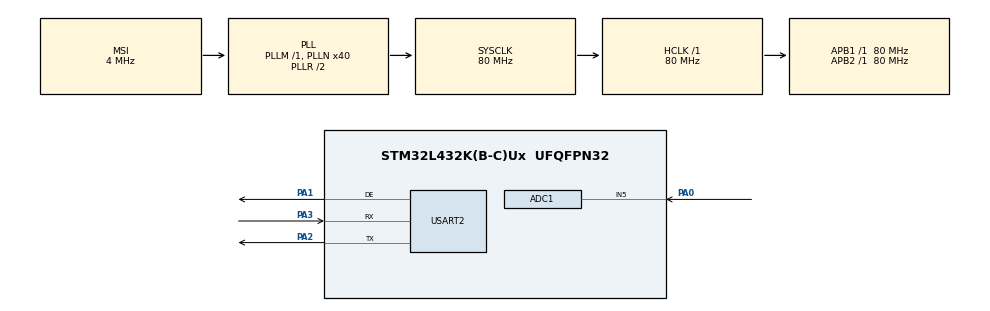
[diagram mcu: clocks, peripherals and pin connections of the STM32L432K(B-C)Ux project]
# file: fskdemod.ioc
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ADC1.Channel-2\#ChannelRegularConversion=ADC_CHANNEL_5
ADC1.ContinuousConvMode=DISABLE
ADC1.DMAContinuousRequests=ENABLE
ADC1.ExternalTrigConv=ADC_EXTERNALTRIG_T2_TRGO
ADC1.NbrOfConversion=1
ADC1.NbrOfConversionFlag=1
ADC1.OffsetNumber-2\#ChannelRegularConversion=ADC_OFFSET_NONE
ADC1.Overrun=ADC_OVR_DATA_PRESERVED
ADC1.Rank-2\#ChannelRegularConversion=1
ADC1.SamplingTime-2\#ChannelRegularConversion=ADC_SAMPLETIME_247CYCLES_5
ADC1.master=1
Dma.ADC1.0.Direction=DMA_PERIPH_TO_MEMORY
Dma.ADC1.0.Instance=DMA1_Channel1
Dma.ADC1.0.MemDataAlignment=DMA_MDATAALIGN_HALFWORD
Dma.ADC1.0.MemInc=DMA_MINC_ENABLE
Dma.ADC1.0.Mode=DMA_CIRCULAR
Dma.ADC1.0.PeriphDataAlignment=DMA_PDATAALIGN_HALFWORD
Dma.ADC1.0.PeriphInc=DMA_PINC_DISABLE
Dma.ADC1.0.Priority=DMA_PRIORITY_LOW
Dma.Request0=ADC1
Mcu.Family=STM32L4
Mcu.Name=STM32L432K(B-C)Ux
Mcu.Package=UFQFPN32
NVIC.ADC1_IRQn=true\:0\:0\:false\:false\:true\:true\:true\:true
NVIC.DMA1_Channel1_IRQn=true\:0\:0\:false\:false\:true\:false\:true\:true
NVIC.PriorityGroup=NVIC_PRIORITYGROUP_4
NVIC.TIM2_IRQn=true\:0\:0\:false\:false\:true\:true\:true\:true
NVIC.USART2_IRQn=true\:0\:0\:false\:false\:true\:true\:true\:true
PA0.Signal=ADCx_IN5
PA1.Mode=Hardware Flow Control (RS485)
PA1.Signal=USART2_DE
PA2.Mode=Asynchronous
PA2.Signal=USART2_TX
PA3.Mode=Asynchronous
PA3.Signal=USART2_RX
ProjectManager.HeapSize=0x200
ProjectManager.StackSize=0x400
ProjectManager.TargetToolchain=STM32CubeIDE
RCC.ADCFreq_Value=32000000
RCC.AHBFreq_Value=80000000
RCC.APB1Freq_Value=80000000
RCC.APB1TimFreq_Value=80000000
RCC.APB2Freq_Value=80000000
RCC.APB2TimFreq_Value=80000000
RCC.CortexFreq_Value=80000000
RCC.HCLKFreq_Value=80000000
RCC.HSE_VALUE=8000000
RCC.HSI48_VALUE=48000000
RCC.HSI_VALUE=16000000
RCC.LSE_VALUE=32768
RCC.MSI_VALUE=4000000
RCC.PLLN=40
RCC.PLLSAI1N=16
RCC.SYSCLKFreq_VALUE=80000000
RCC.SYSCLKSource=RCC_SYSCLKSOURCE_PLLCLK
RCC.USBFreq_Value=32000000
RCC.VCOOutputFreq_Value=160000000
SH.ADCx_IN5.0=ADC1_IN5,IN5-Single-Ended
TIM2.Channel-PWM\ Generation1\ No\ Output=TIM_CHANNEL_1
TIM2.Period=499
TIM2.Prescaler=3
TIM2.TIM_MasterOutputTrigger=TIM_TRGO_UPDATE
USART2.VirtualMode-Asynchronous=VM_ASYNC
USART2.VirtualMode-Hardware\ Flow\ Control\ (RS485)=VM_ASYNC
VP_TIM2_VS_ClockSourceINT.Mode=Internal
VP_TIM2_VS_no_output1.Mode=PWM Generation1 No Output
board=NUCLEO-L432KC

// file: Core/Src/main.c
/* USER CODE BEGIN Header */
/**
  ******************************************************************************
  * @file           : main.c
  * @brief          : Main program body
  ******************************************************************************
  * @attention
  *
  * Copyright (c) 2023 STMicroelectronics.
  * All rights reserved.
  *
  * This software is licensed under terms that can be found in the LICENSE file
  * in the root directory of this software component.
  * If no LICENSE file comes with this software, it is provided AS-IS.
  *
  ******************************************************************************
  */
/* USER CODE END Header */
#include "main.h"

/* USER CODE BEGIN Includes */
#include <string.h>
#include <stdio.h>
#include <math.h>
#define ARM_MATH_CM4
#include "arm_math.h"
/* USER CODE END Includes */

/* USER CODE BEGIN PM */
#define UINT16_TO_FLOAT 0.00001525878f
#define INT16_TO_FLOAT 0.00003051757f
#define FLOAT_TO_INT16 32768.0f
#define BUFFER_SIZE 256
#define FFT_BUFFER_SIZE 4096
#define SAMPLE_RATE_HZ 40000
#define ZERO_FREQ 6000
#define ONE_FREQ 7000
/* USER CODE END PM */

ADC_HandleTypeDef hadc1;
DMA_HandleTypeDef hdma_adc1;

TIM_HandleTypeDef htim2;

UART_HandleTypeDef huart2;

/* USER CODE BEGIN PV */
char msg[10];

volatile uint16_t buffer[BUFFER_SIZE];
volatile uint8_t halfFlag = 0;
volatile uint8_t fullFlag = 0;

arm_rfft_fast_instance_f32 fftHandler;

float fftBufIn[FFT_BUFFER_SIZE];
float32_t fftBufOut[FFT_BUFFER_SIZE];
float32_t fftMagOut[FFT_BUFFER_SIZE/2];
volatile int16_t fftIndex = 0;
volatile uint8_t fftFlag = 0;

float peakVal = 0.0f;
uint16_t peakHz = 0;

int received[9];
int receivedIndex = 0;
int zeroCount = 0;
int oneCount = 0;
/* USER CODE END PV */

void SystemClock_Config(void);
static void MX_GPIO_Init(void);
static void MX_DMA_Init(void);
static void MX_ADC1_Init(void);
static void MX_USART2_UART_Init(void);
static void MX_TIM2_Init(void);
/* USER CODE BEGIN PFP */
void process_data(int start, int end);
void bit_detect(int freq);
void receive_bit(int bit, int amount);
/* USER CODE END PFP */

int main(void)
{

  /* MCU Configuration--------------------------------------------------------*/

  /* Reset of all peripherals, Initializes the Flash interface and the Systick. */
  HAL_Init();

  /* Configure the system clock */
  SystemClock_Config();

  /* Initialize all configured peripherals */
  MX_GPIO_Init();
  MX_DMA_Init();
  MX_ADC1_Init();
  MX_USART2_UART_Init();
  MX_TIM2_Init();
  /* USER CODE BEGIN 2 */

  arm_rfft_fast_init_f32(&fftHandler, FFT_BUFFER_SIZE);
  HAL_ADCEx_Calibration_Start(&hadc1, ADC_SINGLE_ENDED);
  HAL_ADC_Start_DMA(&hadc1, (uint32_t*)buffer, BUFFER_SIZE);
  HAL_TIM_Base_Start_IT(&htim2);
  /* USER CODE END 2 */

  /* Infinite loop */
  /* USER CODE BEGIN WHILE */
  while (1)
  {
	  if (halfFlag) {
		  process_data(0, BUFFER_SIZE/2);
		  halfFlag = 0;
	  }

	  if (fullFlag) {
		  process_data(BUFFER_SIZE/2, BUFFER_SIZE);
		  fullFlag = 0;
	  }
    /* USER CODE END WHILE */

  }
}

void SystemClock_Config(void)
{
  RCC_OscInitTypeDef RCC_OscInitStruct = {0};
  RCC_ClkInitTypeDef RCC_ClkInitStruct = {0};

  /** Configure the main internal regulator output voltage
  */
  if (HAL_PWREx_ControlVoltageScaling(PWR_REGULATOR_VOLTAGE_SCALE1) != HAL_OK)
  {
    Error_Handler();
  }

  /** Initializes the RCC Oscillators according to the specified parameters
  * in the RCC_OscInitTypeDef structure.
  */
  RCC_OscInitStruct.OscillatorType = RCC_OSCILLATORTYPE_MSI;
  RCC_OscInitStruct.MSIState = RCC_MSI_ON;
  RCC_OscInitStruct.MSICalibrationValue = 0;
  RCC_OscInitStruct.MSIClockRange = RCC_MSIRANGE_6;
  RCC_OscInitStruct.PLL.PLLState = RCC_PLL_ON;
  RCC_OscInitStruct.PLL.PLLSource = RCC_PLLSOURCE_MSI;
  RCC_OscInitStruct.PLL.PLLM = 1;
  RCC_OscInitStruct.PLL.PLLN = 40;
  RCC_OscInitStruct.PLL.PLLP = RCC_PLLP_DIV7;
  RCC_OscInitStruct.PLL.PLLQ = RCC_PLLQ_DIV2;
  RCC_OscInitStruct.PLL.PLLR = RCC_PLLR_DIV2;
  if (HAL_RCC_OscConfig(&RCC_OscInitStruct) != HAL_OK)
  {
    Error_Handler();
  }

  /** Initializes the CPU, AHB and APB buses clocks
  */
  RCC_ClkInitStruct.ClockType = RCC_CLOCKTYPE_HCLK|RCC_CLOCKTYPE_SYSCLK
                              |RCC_CLOCKTYPE_PCLK1|RCC_CLOCKTYPE_PCLK2;
  RCC_ClkInitStruct.SYSCLKSource = RCC_SYSCLKSOURCE_PLLCLK;
  RCC_ClkInitStruct.AHBCLKDivider = RCC_SYSCLK_DIV1;
  RCC_ClkInitStruct.APB1CLKDivider = RCC_HCLK_DIV1;
  RCC_ClkInitStruct.APB2CLKDivider = RCC_HCLK_DIV1;

  if (HAL_RCC_ClockConfig(&RCC_ClkInitStruct, FLASH_LATENCY_4) != HAL_OK)
  {
    Error_Handler();
  }
}

static void MX_ADC1_Init(void)
{

  ADC_ChannelConfTypeDef sConfig = {0};

  /** Common config
  */
  hadc1.Instance = ADC1;
  hadc1.Init.ClockPrescaler = ADC_CLOCK_ASYNC_DIV1;
  hadc1.Init.Resolution = ADC_RESOLUTION_12B;
  hadc1.Init.DataAlign = ADC_DATAALIGN_RIGHT;
  hadc1.Init.ScanConvMode = ADC_SCAN_DISABLE;
  hadc1.Init.EOCSelection = ADC_EOC_SINGLE_CONV;
  hadc1.Init.LowPowerAutoWait = DISABLE;
  hadc1.Init.ContinuousConvMode = DISABLE;
  hadc1.Init.NbrOfConversion = 1;
  hadc1.Init.DiscontinuousConvMode = DISABLE;
  hadc1.Init.ExternalTrigConv = ADC_EXTERNALTRIG_T2_TRGO;
  hadc1.Init.ExternalTrigConvEdge = ADC_EXTERNALTRIGCONVEDGE_RISING;
  hadc1.Init.DMAContinuousRequests = ENABLE;
  hadc1.Init.Overrun = ADC_OVR_DATA_PRESERVED;
  hadc1.Init.OversamplingMode = DISABLE;
  if (HAL_ADC_Init(&hadc1) != HAL_OK)
  {
    Error_Handler();
  }

  /** Configure Regular Channel
  */
  sConfig.Channel = ADC_CHANNEL_5;
  sConfig.Rank = ADC_REGULAR_RANK_1;
  sConfig.SamplingTime = ADC_SAMPLETIME_247CYCLES_5;
  sConfig.SingleDiff = ADC_SINGLE_ENDED;
  sConfig.OffsetNumber = ADC_OFFSET_NONE;
  sConfig.Offset = 0;
  if (HAL_ADC_ConfigChannel(&hadc1, &sConfig) != HAL_OK)
  {
    Error_Handler();
  }

}

static void MX_TIM2_Init(void)
{

  TIM_ClockConfigTypeDef sClockSourceConfig = {0};
  TIM_MasterConfigTypeDef sMasterConfig = {0};
  TIM_OC_InitTypeDef sConfigOC = {0};

  htim2.Instance = TIM2;
  htim2.Init.Prescaler = 3;
  htim2.Init.CounterMode = TIM_COUNTERMODE_UP;
  htim2.Init.Period = 499;
  htim2.Init.ClockDivision = TIM_CLOCKDIVISION_DIV1;
  htim2.Init.AutoReloadPreload = TIM_AUTORELOAD_PRELOAD_DISABLE;
  if (HAL_TIM_Base_Init(&htim2) != HAL_OK)
  {
    Error_Handler();
  }
  sClockSourceConfig.ClockSource = TIM_CLOCKSOURCE_INTERNAL;
  if (HAL_TIM_ConfigClockSource(&htim2, &sClockSourceConfig) != HAL_OK)
  {
    Error_Handler();
  }
  if (HAL_TIM_PWM_Init(&htim2) != HAL_OK)
  {
    Error_Handler();
  }
  sMasterConfig.MasterOutputTrigger = TIM_TRGO_UPDATE;
  sMasterConfig.MasterSlaveMode = TIM_MASTERSLAVEMODE_DISABLE;
  if (HAL_TIMEx_MasterConfigSynchronization(&htim2, &sMasterConfig) != HAL_OK)
  {
    Error_Handler();
  }
  sConfigOC.OCMode = TIM_OCMODE_PWM1;
  sConfigOC.Pulse = 0;
  sConfigOC.OCPolarity = TIM_OCPOLARITY_HIGH;
  sConfigOC.OCFastMode = TIM_OCFAST_DISABLE;
  if (HAL_TIM_PWM_ConfigChannel(&htim2, &sConfigOC, TIM_CHANNEL_1) != HAL_OK)
  {
    Error_Handler();
  }

}

static void MX_USART2_UART_Init(void)
{

  huart2.Instance = USART2;
  huart2.Init.BaudRate = 115200;
  huart2.Init.WordLength = UART_WORDLENGTH_8B;
  huart2.Init.StopBits = UART_STOPBITS_1;
  huart2.Init.Parity = UART_PARITY_NONE;
  huart2.Init.Mode = UART_MODE_TX_RX;
  huart2.Init.HwFlowCtl = UART_HWCONTROL_NONE;
  huart2.Init.OverSampling = UART_OVERSAMPLING_16;
  huart2.Init.OneBitSampling = UART_ONE_BIT_SAMPLE_DISABLE;
  huart2.AdvancedInit.AdvFeatureInit = UART_ADVFEATURE_NO_INIT;
  if (HAL_RS485Ex_Init(&huart2, UART_DE_POLARITY_HIGH, 0, 0) != HAL_OK)
  {
    Error_Handler();
  }

}

static void MX_DMA_Init(void)
{

  /* DMA controller clock enable */
  __HAL_RCC_DMA1_CLK_ENABLE();

  /* DMA interrupt init */
  /* DMA1_Channel1_IRQn interrupt configuration */
  HAL_NVIC_SetPriority(DMA1_Channel1_IRQn, 0, 0);
  HAL_NVIC_EnableIRQ(DMA1_Channel1_IRQn);

}

static void MX_GPIO_Init(void)
{

  /* GPIO Ports Clock Enable */
  __HAL_RCC_GPIOA_CLK_ENABLE();

}

/* USER CODE BEGIN 4 */
void receive_bit(int bit, int amount) {
	if (amount == 0) {
		return;
	}
	for (int count = 0; count < floor(amount/15); count++) {
		received[receivedIndex] = bit;
		receivedIndex++;
	}
	if (receivedIndex > 7) {
		sprintf(msg, "Msg:\r\n");
		HAL_UART_Transmit(&huart2, (uint8_t*)msg, strlen(msg), HAL_MAX_DELAY);

		for(int count = 0; count < 8; count++) {
			sprintf(msg, "%hu", received[count]);
			HAL_UART_Transmit(&huart2, (uint8_t*)msg, strlen(msg), HAL_MAX_DELAY);
		}
		sprintf(msg, "\r\n");
		HAL_UART_Transmit(&huart2, (uint8_t*)msg, strlen(msg), HAL_MAX_DELAY);

		receivedIndex = 0;
	}
}

void bit_detect(int freq) {
	  if (freq > ONE_FREQ - 200 && freq < ONE_FREQ + 200){
		  oneCount++;
	  } else {
		  receive_bit(1, oneCount);
		  oneCount = 0;
	  }
	  if (freq > ZERO_FREQ - 200 && freq < ZERO_FREQ + 200) {
		  zeroCount++;
	  } else {
		  receive_bit(0, zeroCount);
		  zeroCount = 0;
	  }
}

void process_data(int start, int end) {
	/*
	for (int count = start; count < end; count++) {
		sprintf(msg, "%hu\r\n", buffer[count]);
		HAL_UART_Transmit(&huart2, (uint8_t*)msg, strlen(msg), HAL_MAX_DELAY);
	}
	*/
	float in;

	for (uint8_t count = start; count < end; count++) {
		// Convert to float
		in = INT16_TO_FLOAT * ((float) buffer[count]);
		//in = ((float) buffer[count]);

		// Fill FFT Buffer
		fftBufIn[fftIndex] = in;
		fftIndex++;

		if (fftIndex == FFT_BUFFER_SIZE) {
			// Perform FFT
			arm_rfft_fast_f32(&fftHandler, fftBufIn, fftBufOut, 0);
			arm_cmplx_mag_f32(fftBufOut, fftMagOut, FFT_BUFFER_SIZE/2);

			// Set FFT flag
			fftFlag = 1;

			if (fftFlag) {
					  peakVal = 0.0f;
					  peakHz = 0.0f;

					  for (uint16_t index = 1; index < FFT_BUFFER_SIZE/4; index ++){

						  if (fftMagOut[index] > peakVal) {
							  peakVal = fftMagOut[index];
							  peakHz = (uint16_t) (index * SAMPLE_RATE_HZ / ((float) FFT_BUFFER_SIZE));
						  }
					  }

					  sprintf(msg, "%hu\r\n", peakHz);
					  HAL_UART_Transmit(&huart2, (uint8_t*)msg, strlen(msg), HAL_MAX_DELAY);

					  bit_detect(peakHz);

					  fftFlag = 0;
			}

			// Reset FFT array index;
			fftIndex = 0;
		}
	}

}

// Called when first half of buffer is filled
void HAL_ADC_ConvHalfCpltCallback(ADC_HandleTypeDef* hadc) {
	halfFlag = 1;
	//process_data(0, BUFFER_SIZE/2);
}

// Called when buffer is completely filled
void HAL_ADC_ConvCpltCallback(ADC_HandleTypeDef* hadc) {
	fullFlag = 1;
	//process_data(BUFFER_SIZE/2, BUFFER_SIZE);
}
/* USER CODE END 4 */

void Error_Handler(void)
{
  __disable_irq();
  while (1)
  {
  }
}
